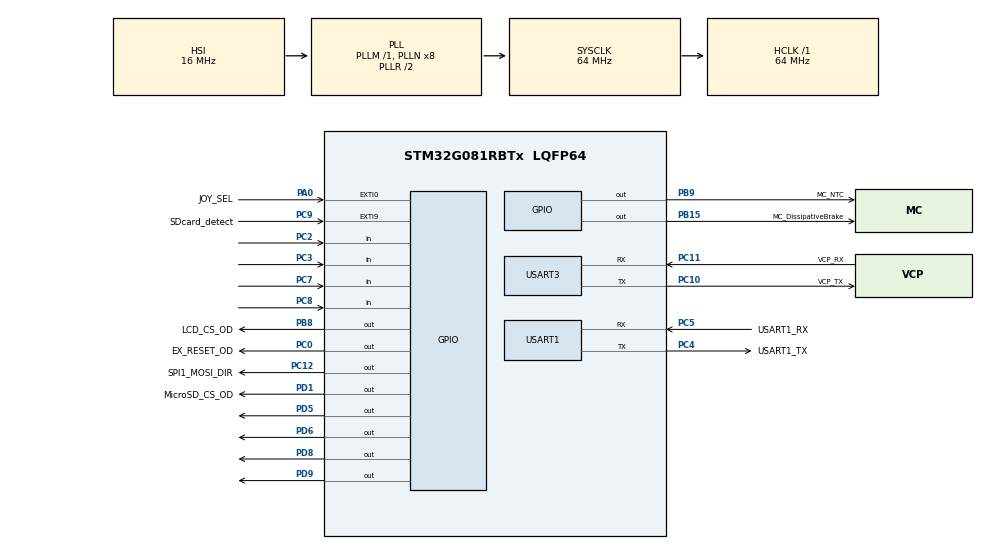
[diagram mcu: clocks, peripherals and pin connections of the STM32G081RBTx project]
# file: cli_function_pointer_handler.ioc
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FREERTOS.Tasks01=CLI,2,128,c_l_i,Default,NULL,Dynamic,NULL,NULL;joy,-1,128,joystick,Default,NULL,Dynamic,NULL,NULL;led,-3,128,leds,Default,NULL,Dynamic,NULL,NULL
Mcu.Family=STM32G0
Mcu.Name=STM32G081RBTx
Mcu.Package=LQFP64
NVIC.TIM6_DAC_LPTIM1_IRQn=true\:3\:0\:false\:false\:true\:false\:false\:true\:true
NVIC.TimeBase=TIM6_DAC_LPTIM1_IRQn
NVIC.TimeBaseIP=TIM6
NVIC.USART3_4_LPUART1_IRQn=true\:3\:0\:false\:false\:true\:true\:true\:true\:true
PA0.GPIO_Label=JOY_SEL
PA0.Signal=GPXTI0
PA1.GPIO_Label=MC_BusVoltage
PA1.Signal=ADC1_IN1
PA10.GPIO_Label=MC_WH
PA10.Signal=S_TIM1_CH3
PA11\ [PA9].GPIO_Label=USART1_CTS
PA11\ [PA9].Signal=USART1_CTS
PA12\ [PA10].GPIO_Label=USART1_RTS
PA12\ [PA10].Signal=USART1_RTS
PA13.GPIO_Label=SWDAT
PA13.Mode=Serial_Wire
PA13.Signal=SYS_SWDIO
PA14-BOOT0.GPIO_Label=SWCLK
PA14-BOOT0.Mode=Serial_Wire
PA14-BOOT0.Signal=SYS_SWCLK
PA2.GPIO_Label=MC_CurrentA
PA2.Signal=ADC1_IN2
PA3.Signal=ADC1_IN3
PA4.GPIO_Label=Audio_OUT_L [TS488IQT_VIN1]
PA4.Signal=COMP_DAC11_group
PA5.GPIO_Label=Audio_OUT_R [TS488IQT_VIN2]
PA5.Signal=COMP_DAC12_group
PA6.GPIO_Label=Audio_IN
PA6.Signal=ADC1_IN6
PA7.GPIO_Label=SPI1_MOSI
PA7.Signal=SPI1_MOSI
PA8.GPIO_Label=MC_UH
PA8.Signal=S_TIM1_CH1
PA9.GPIO_Label=MC_VH
PA9.Signal=S_TIM1_CH2
PB0.GPIO_Label=MC_EnIndex
PB0.Signal=ADC1_IN8
PB1.GPIO_Label=MC_PFCpwm
PB1.Signal=S_TIM3_CH4
PB10.GPIO_Label=MC_CurrentC
PB10.Signal=ADC1_IN11
PB12.GPIO_Label=MC_EmergencySTOP
PB12.Signal=TIM1_BK
PB15.GPIO_Label=MC_DissipativeBrake
PB15.Signal=GPIO_Output
PB2.GPIO_Label=Potentiometer
PB2.Signal=ADC1_IN10
PB3.GPIO_Label=SPI1_SCK
PB3.Signal=SPI1_SCK
PB4.GPIO_Label=SPI1_MISO
PB4.Signal=SPI1_MISO
PB5.GPIO_Label=MC_EnB
PB5.Signal=S_TIM3_CH2
PB6.GPIO_Label=I2C1_SCL
PB6.Signal=I2C1_SCL
PB7.GPIO_Label=I2C1_SDA
PB7.Signal=I2C1_SDA
PB8.GPIO_Label=LCD_CS_OD
PB8.GPIO_ModeDefaultOutputPP=GPIO_MODE_OUTPUT_OD
PB8.Signal=GPIO_Output
PB9.GPIO_Label=MC_NTC
PB9.Signal=GPIO_Output
PC0.GPIO_Label=EX_RESET_OD
PC0.GPIO_ModeDefaultOutputPP=GPIO_MODE_OUTPUT_OD
PC0.Signal=GPIO_Output
PC1.GPIO_Label=MC_PFCsync1
PC1.Signal=LPTIM1_OUT
PC10.GPIO_Label=VCP_TX
PC10.Mode=Asynchronous
PC10.Signal=USART3_TX
PC11.GPIO_Label=VCP_RX
PC11.Mode=Asynchronous
PC11.Signal=USART3_RX
PC12.GPIO_Label=SPI1_MOSI_DIR
PC12.Signal=GPIO_Output
PC13.GPIO_Label=Tamper_key
PC13.Signal=RTC_TAMP_IN1
PC14-OSC32_IN\ (PC14).Mode=LSE-External-Oscillator
PC14-OSC32_IN\ (PC14).Signal=RCC_OSC32_IN
PC15-OSC32_OUT\ (PC15).Mode=LSE-External-Oscillator
PC15-OSC32_OUT\ (PC15).Signal=RCC_OSC32_OUT
PC2.GPIO_PuPd=GPIO_PULLDOWN
PC2.Signal=GPIO_Input
PC3.GPIO_PuPd=GPIO_PULLDOWN
PC3.Signal=GPIO_Input
PC4.GPIO_Label=USART1_TX
PC4.Mode=Asynchronous
PC4.Signal=USART1_TX
PC5.GPIO_Label=USART1_RX
PC5.Mode=Asynchronous
PC5.Signal=USART1_RX
PC6.GPIO_Label=MC_EnA
PC6.Signal=S_TIM3_CH1
PC7.GPIO_PuPd=GPIO_PULLDOWN
PC7.Signal=GPIO_Input
PC8.GPIO_PuPd=GPIO_PULLDOWN
PC8.Signal=GPIO_Input
PC9.GPIO_Label=SDcard_detect
PC9.Signal=GPXTI9
PD0.GPIO_Label=MC_PFCsync2
PD0.Signal=S_TIM16_CH1
PD1.GPIO_Label=MicroSD_CS_OD
PD1.GPIO_ModeDefaultOutputPP=GPIO_MODE_OUTPUT_OD
PD1.Signal=GPIO_Output
PD2.GPIO_Label=MC_UL
PD2.Signal=TIM1_CH1N
PD3.GPIO_Label=MC_VL
PD3.Signal=TIM1_CH2N
PD4.GPIO_Label=MC_WL
PD4.Signal=TIM1_CH3N
PD5.PinState=GPIO_PIN_SET
PD5.Signal=GPIO_Output
PD6.PinState=GPIO_PIN_SET
PD6.Signal=GPIO_Output
PD8.PinState=GPIO_PIN_SET
PD8.Signal=GPIO_Output
PD9.PinState=GPIO_PIN_SET
PD9.Signal=GPIO_Output
PF0-OSC_IN\ (PF0).Mode=HSE-External-Oscillator
PF0-OSC_IN\ (PF0).Signal=RCC_OSC_IN
PF1-OSC_OUT\ (PF1).Mode=HSE-External-Oscillator
PF1-OSC_OUT\ (PF1).Signal=RCC_OSC_OUT
ProjectManager.HeapSize=0x200
ProjectManager.StackSize=0x400
ProjectManager.TargetToolchain=STM32CubeIDE
RCC.ADCFreq_Value=64000000
RCC.AHBFreq_Value=64000000
RCC.CortexFreq_Value=64000000
RCC.EXTERNAL_CLOCK_VALUE=12288000
RCC.HCLKFreq_Value=64000000
RCC.HSE_VALUE=8000000
RCC.HSI_VALUE=16000000
RCC.SYSCLKFreq_VALUE=64000000
RCC.SYSCLKSource=RCC_SYSCLKSOURCE_PLLCLK
RCC.VCOOutputFreq_Value=128000000
SH.COMP_DAC11_group.0=DAC1_OUT1
SH.COMP_DAC12_group.0=DAC1_OUT2
SH.S_TIM16_CH1.0=TIM16_CH1
SH.S_TIM1_CH1.0=TIM1_CH1
SH.S_TIM1_CH2.0=TIM1_CH2
SH.S_TIM1_CH3.0=TIM1_CH3
SH.S_TIM3_CH1.0=TIM3_CH1
SH.S_TIM3_CH2.0=TIM3_CH2
SH.S_TIM3_CH4.0=TIM3_CH4
USART1.VirtualMode-Asynchronous=VM_ASYNC
USART3.VirtualMode-Asynchronous=VM_ASYNC
VP_FREERTOS_VS_CMSIS_V1.Mode=CMSIS_V1
VP_SYS_VS_DBSignals.Mode=DisableDeadBatterySignals
VP_SYS_VS_tim6.Mode=TIM6
board=STM32G081B-EVAL

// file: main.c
/* USER CODE BEGIN Header */
/**
  ******************************************************************************
  * @file           : main.c
  * @brief          : Main program body
  ******************************************************************************
  * @attention
  *
  * Copyright (c) 2022 STMicroelectronics.
  * All rights reserved.
  *
  * This software is licensed under terms that can be found in the LICENSE file
  * in the root directory of this software component.
  * If no LICENSE file comes with this software, it is provided AS-IS.
  *
  ******************************************************************************
  */
/* USER CODE END Header */
#include "main.h"
#include "cmsis_os.h"

/* USER CODE BEGIN Includes */
#include <stdbool.h>
#include <string.h>
#include <stdio.h>
#include <stdlib.h>
#define LED1 1
#define LED2 2
#define LED3 3
#define LED4 4
#define queue_length 3
/* USER CODE END Includes */

UART_HandleTypeDef huart1;
UART_HandleTypeDef huart3;

osThreadId CLIHandle;
osThreadId joyHandle;
osThreadId ledHandle;
/* USER CODE BEGIN PV */
#define RX_BUFF_SIZE	20
/* USER CODE END PV */

void SystemClock_Config(void);
static void MX_GPIO_Init(void);
static void MX_USART1_UART_Init(void);
static void MX_USART3_UART_Init(void);
void c_l_i(void const * argument);
void joystick(void const * argument);
void leds(void const * argument);
xQueueHandle simplequeue;
xQueueHandle cli_queue;
/* USER CODE BEGIN PFP */
struct UART3_Rx
{
	bool fullFlag;
	bool cmdReady;
	uint8_t count;
	uint8_t buff[RX_BUFF_SIZE];
};
struct jtos
{
	uint8_t value;
    uint32_t delay;
};
struct jtos jtosBuff;
HAL_StatusTypeDef status = HAL_OK;
struct UART3_Rx tempBuff;
uint8_t* ptrTempBuff = &tempBuff.buff[0];
char *ptr;

char strBuff[128];
uint8_t rx_buff[RX_BUFF_SIZE];
uint8_t temp[RX_BUFF_SIZE];
uint16_t temp1;
uint8_t temp5;
bool softReset = false;
bool pinReset = false;

uint8_t goCmd[] = "d";
uint8_t rstCmd[] = "reset";
uint8_t reply[] = "\r\nTemp value passed to joystick...Now press any Joy button\r\n>";
uint8_t prompt[] = "\r\n>";
uint8_t cmdFail[] = "\r\nCommand not recognised...\r\n>";

/* USER CODE END PFP */

/* USER CODE BEGIN 0 */
void printInfo()
{
  uint16_t flashSize = READ_REG(*((uint16_t *)FLASHSIZE_BASE));
  int HalVersion = HAL_GetHalVersion();
  int RevID = HAL_GetREVID();
  int DevID = HAL_GetDEVID();
  int UIDw0 = HAL_GetUIDw0();
  int UIDw1 = HAL_GetUIDw1();
  int UIDw2 = HAL_GetUIDw2();
  int HCLKF = HAL_RCC_GetHCLKFreq();

  // Wait for connection to Tera Term (or whatever) before printing
  HAL_Delay(500);

  if(pinReset)
  {
	 sprintf(&strBuff[0], "\r\nPin triggered reset occurred...");
	 status = HAL_UART_Transmit(&huart3, (uint8_t*)&strBuff[0], strlen(strBuff),100);
	 assert_param(status == HAL_OK);
  }

  if(softReset)
  {
	 sprintf(&strBuff[0], "\r\nSoftware triggered reset occurred...");
	 status = HAL_UART_Transmit(&huart3, (uint8_t*)&strBuff[0], strlen(strBuff),100);
	 assert_param(status == HAL_OK);
  }
  sprintf(&strBuff[0], "\r\n\r\nSTM32 HAL : L0_V%d.%d.%d (RC-%d)\r\n",
		   (HalVersion >> 24),
		   (HalVersion >> 16) & 0xFF,
		   (HalVersion >> 8) & 0xFF,
		    HalVersion & 0xFF);

	// Blocking calls used deliberately
  status = HAL_UART_Transmit(&huart3, (uint8_t*)&strBuff[0], strlen(strBuff),100);           //prints the STM32 HAL : L0_V1.4.4 (RC-0)
  assert_param(status == HAL_OK);
  sprintf(&strBuff[0], "Flash     : %d Kbytes\r\n", flashSize);
  status = HAL_UART_Transmit(&huart3, (uint8_t*)&strBuff[0], strlen(strBuff),100);           //prints the size of Flash : 128 Kbytes
  assert_param(status == HAL_OK);
  sprintf(&strBuff[0], "UID       : %d%d%d\r\n", UIDw2, UIDw1, UIDw0);
  status = HAL_UART_Transmit(&huart3, (uint8_t*)&strBuff[0], strlen(strBuff),100);           //prints the UID   : 5405532888256430194194424
  assert_param(status == HAL_OK);
  sprintf(&strBuff[0], "Dev ID    : 0x%03x\r\n", DevID);
  status = HAL_UART_Transmit(&huart3, (uint8_t*)&strBuff[0], strlen(strBuff),100);           //prints the Dev ID  : 0x460
  assert_param(status == HAL_OK);
  sprintf(&strBuff[0], "Rev ID    : 0x%04x\r\n", RevID);
  status = HAL_UART_Transmit(&huart3, (uint8_t*)&strBuff[0], strlen(strBuff),100);           //prints the Rev ID   : 0x2000
  assert_param(status == HAL_OK);
  sprintf(&strBuff[0], "HCLK      : %d Hz\r\n\n>", HCLKF);
  status = HAL_UART_Transmit(&huart3, (uint8_t*)&strBuff[0], strlen(strBuff),100);           //prints the clock HCLK  : 64000000 Hz
  assert_param(status == HAL_OK);
}
    //When data reception is finished, it will be called by interrupt handle function
void HAL_UART_RxCpltCallback(UART_HandleTypeDef *huart)
{
  if(huart->Instance == USART3) {
    // We can accept the character
	if((tempBuff.count < RX_BUFF_SIZE) && (tempBuff.fullFlag == false)) {
	  // It's the end of a command
	  if(tempBuff.buff[tempBuff.count] == '\r') {
	    // Disable interrupts until we have processed the command
		status = HAL_UART_Abort(huart);
		assert_param(status == HAL_OK);

			    // Signal we have a command and reset pointer
		tempBuff.cmdReady = true;
		ptrTempBuff = &tempBuff.buff[0];
	  }
	  else // Assume character is good
	  {
		tempBuff.count += 1;
		ptrTempBuff++;
		// Enable reception again
		status = HAL_UART_Receive_IT(huart, ptrTempBuff, sizeof(uint8_t));
		assert_param(status == HAL_OK);
	  }
	}
	else // We can't accept it so start again
	{
	  // We ran out of buffer before getting a command!
	  status = HAL_UART_Abort(huart);
	  assert_param(status == HAL_OK);

	  // Signal an error condition, reset pointer
	  tempBuff.fullFlag = true;
	  ptrTempBuff = &tempBuff.buff[0];
	}
  }
}
/* USER CODE END 0 */

int main(void)
{
  /* USER CODE BEGIN 1 */
  tempBuff.fullFlag = false;                                         // we assign the fullflag=false,cmdready=false and count=0;
  tempBuff.cmdReady = false;
  tempBuff.count = 0;
  memset(&tempBuff.buff, 0x00, sizeof(tempBuff.buff));               //clear the buffer data otherwise garbage is there.

  /* USER CODE END 1 */

  /* MCU Configuration--------------------------------------------------------*/

  /* Reset of all peripherals, Initializes the Flash interface and the Systick. */
  HAL_Init();

  /* Configure the system clock */
  SystemClock_Config();

  /* USER CODE BEGIN SysInit */
  if __HAL_RCC_GET_FLAG(RCC_FLAG_SFTRST)
  {
    softReset = true;
  }
  if __HAL_RCC_GET_FLAG(RCC_FLAG_PINRST)
  {
    pinReset = true;
  }
  /* USER CODE END SysInit */

  /* Initialize all configured peripherals */
  MX_GPIO_Init();
  MX_USART1_UART_Init();
  MX_USART3_UART_Init();
  /* USER CODE BEGIN 2 */
  HAL_UART_Transmit(&huart3,(uint8_t*)"Welcome to Joystick to Led\r\n",27,HAL_MAX_DELAY);
  memset(&tempBuff.buff, 0x00, sizeof(tempBuff.buff));
  HAL_Delay(200);
  simplequeue=xQueueCreate(queue_length,sizeof(int));                                                //create the message queue for transfer the information joystick to led.
  cli_queue=xQueueCreate(queue_length,sizeof(tempBuff));                                              //create the message queue for transfer the information command line interface to joystick.
  /*if(simplequeue==0)
  {
	char *str="unable to create queue\n";
	HAL_UART_Transmit(&huart3,(uint8_t*)str,strlen(str),HAL_MAX_DELAY);
  }
  else
  {
	char *str1="create queue\n";
	HAL_UART_Transmit(&huart3,(uint8_t*)str1,strlen(str1),HAL_MAX_DELAY);
  }*/

  status = HAL_UART_Receive_IT(&huart3, &tempBuff.buff[0], sizeof(uint8_t));
  assert_param(status == HAL_OK);

  // printInfo();

  /* USER CODE END 2 */

  /* Create the thread(s) */
  /* definition and creation of CLI */
  osThreadDef(CLI, c_l_i, osPriorityHigh, 0, 128);
  CLIHandle = osThreadCreate(osThread(CLI), NULL);

  /* definition and creation of joy */
  osThreadDef(joy, joystick, osPriorityAboveNormal, 0, 128);
  joyHandle = osThreadCreate(osThread(joy), NULL);

  /* definition and creation of led */
  osThreadDef(led, leds, osPriorityNormal, 0, 128);
  ledHandle = osThreadCreate(osThread(led), NULL);

  /* Start scheduler */
  osKernelStart();                                                                   //start the thread scheduler

  /* We should never get here as control is now taken by the scheduler */
  /* Infinite loop */
  /* USER CODE BEGIN WHILE */
  while (1)
  {
	 // HAL_Delay(5);
    /* USER CODE END WHILE */
  }
}

void SystemClock_Config(void)
{
  RCC_OscInitTypeDef RCC_OscInitStruct = {0};
  RCC_ClkInitTypeDef RCC_ClkInitStruct = {0};

  /** Configure the main internal regulator output voltage
  */
  HAL_PWREx_ControlVoltageScaling(PWR_REGULATOR_VOLTAGE_SCALE1);

  /** Initializes the RCC Oscillators according to the specified parameters
  * in the RCC_OscInitTypeDef structure.
  */
  RCC_OscInitStruct.OscillatorType = RCC_OSCILLATORTYPE_HSI;
  RCC_OscInitStruct.HSIState = RCC_HSI_ON;
  RCC_OscInitStruct.HSIDiv = RCC_HSI_DIV1;
  RCC_OscInitStruct.HSICalibrationValue = RCC_HSICALIBRATION_DEFAULT;
  RCC_OscInitStruct.PLL.PLLState = RCC_PLL_ON;
  RCC_OscInitStruct.PLL.PLLSource = RCC_PLLSOURCE_HSI;
  RCC_OscInitStruct.PLL.PLLM = RCC_PLLM_DIV1;
  RCC_OscInitStruct.PLL.PLLN = 8;
  RCC_OscInitStruct.PLL.PLLP = RCC_PLLP_DIV2;
  RCC_OscInitStruct.PLL.PLLQ = RCC_PLLQ_DIV2;
  RCC_OscInitStruct.PLL.PLLR = RCC_PLLR_DIV2;
  if (HAL_RCC_OscConfig(&RCC_OscInitStruct) != HAL_OK)
  {
    Error_Handler();
  }

  /** Initializes the CPU, AHB and APB buses clocks
  */
  RCC_ClkInitStruct.ClockType = RCC_CLOCKTYPE_HCLK|RCC_CLOCKTYPE_SYSCLK
                              |RCC_CLOCKTYPE_PCLK1;
  RCC_ClkInitStruct.SYSCLKSource = RCC_SYSCLKSOURCE_PLLCLK;
  RCC_ClkInitStruct.AHBCLKDivider = RCC_SYSCLK_DIV1;
  RCC_ClkInitStruct.APB1CLKDivider = RCC_HCLK_DIV1;

  if (HAL_RCC_ClockConfig(&RCC_ClkInitStruct, FLASH_LATENCY_2) != HAL_OK)
  {
    Error_Handler();
  }
}

static void MX_USART1_UART_Init(void)
{

  huart1.Instance = USART1;
  huart1.Init.BaudRate = 115200;
  huart1.Init.WordLength = UART_WORDLENGTH_8B;
  huart1.Init.StopBits = UART_STOPBITS_1;
  huart1.Init.Parity = UART_PARITY_NONE;
  huart1.Init.Mode = UART_MODE_TX_RX;
  huart1.Init.HwFlowCtl = UART_HWCONTROL_NONE;
  huart1.Init.OverSampling = UART_OVERSAMPLING_16;
  huart1.Init.OneBitSampling = UART_ONE_BIT_SAMPLE_DISABLE;
  huart1.Init.ClockPrescaler = UART_PRESCALER_DIV1;
  huart1.AdvancedInit.AdvFeatureInit = UART_ADVFEATURE_NO_INIT;
  if (HAL_UART_Init(&huart1) != HAL_OK)
  {
    Error_Handler();
  }
  if (HAL_UARTEx_SetTxFifoThreshold(&huart1, UART_TXFIFO_THRESHOLD_1_8) != HAL_OK)
  {
    Error_Handler();
  }
  if (HAL_UARTEx_SetRxFifoThreshold(&huart1, UART_RXFIFO_THRESHOLD_1_8) != HAL_OK)
  {
    Error_Handler();
  }
  if (HAL_UARTEx_DisableFifoMode(&huart1) != HAL_OK)
  {
    Error_Handler();
  }

}

static void MX_USART3_UART_Init(void)
{

  huart3.Instance = USART3;
  huart3.Init.BaudRate = 115200;
  huart3.Init.WordLength = UART_WORDLENGTH_8B;
  huart3.Init.StopBits = UART_STOPBITS_1;
  huart3.Init.Parity = UART_PARITY_NONE;
  huart3.Init.Mode = UART_MODE_TX_RX;
  huart3.Init.HwFlowCtl = UART_HWCONTROL_NONE;
  huart3.Init.OverSampling = UART_OVERSAMPLING_16;
  huart3.Init.OneBitSampling = UART_ONE_BIT_SAMPLE_DISABLE;
  huart3.Init.ClockPrescaler = UART_PRESCALER_DIV1;
  huart3.AdvancedInit.AdvFeatureInit = UART_ADVFEATURE_NO_INIT;
  if (HAL_UART_Init(&huart3) != HAL_OK)
  {
    Error_Handler();
  }

}

static void MX_GPIO_Init(void)
{
  GPIO_InitTypeDef GPIO_InitStruct = {0};

  /* GPIO Ports Clock Enable */
  __HAL_RCC_GPIOC_CLK_ENABLE();
  __HAL_RCC_GPIOF_CLK_ENABLE();
  __HAL_RCC_GPIOA_CLK_ENABLE();
  __HAL_RCC_GPIOB_CLK_ENABLE();
  __HAL_RCC_GPIOD_CLK_ENABLE();

  /*Configure GPIO pin Output Level */
  HAL_GPIO_WritePin(GPIOC, SPI1_MOSI_DIR_Pin|EX_RESET_OD_Pin, GPIO_PIN_RESET);

  /*Configure GPIO pin Output Level */
  HAL_GPIO_WritePin(GPIOB, MC_DissipativeBrake_Pin|LCD_CS_OD_Pin|MC_NTC_Pin, GPIO_PIN_RESET);

  /*Configure GPIO pin Output Level */
  HAL_GPIO_WritePin(GPIOD, GPIO_PIN_8|GPIO_PIN_9|GPIO_PIN_5|GPIO_PIN_6, GPIO_PIN_RESET);

  /*Configure GPIO pin Output Level */
  HAL_GPIO_WritePin(MicroSD_CS_OD_GPIO_Port, MicroSD_CS_OD_Pin, GPIO_PIN_RESET);

  /*Configure GPIO pin : SPI1_MOSI_DIR_Pin */
  GPIO_InitStruct.Pin = SPI1_MOSI_DIR_Pin;
  GPIO_InitStruct.Mode = GPIO_MODE_OUTPUT_PP;
  GPIO_InitStruct.Pull = GPIO_NOPULL;
  GPIO_InitStruct.Speed = GPIO_SPEED_FREQ_LOW;
  HAL_GPIO_Init(SPI1_MOSI_DIR_GPIO_Port, &GPIO_InitStruct);

  /*Configure GPIO pin : EX_RESET_OD_Pin */
  GPIO_InitStruct.Pin = EX_RESET_OD_Pin;
  GPIO_InitStruct.Mode = GPIO_MODE_OUTPUT_OD;
  GPIO_InitStruct.Pull = GPIO_NOPULL;
  GPIO_InitStruct.Speed = GPIO_SPEED_FREQ_LOW;
  HAL_GPIO_Init(EX_RESET_OD_GPIO_Port, &GPIO_InitStruct);

  /*Configure GPIO pin : MC_PFCsync1_Pin */
  GPIO_InitStruct.Pin = MC_PFCsync1_Pin;
  GPIO_InitStruct.Mode = GPIO_MODE_AF_PP;
  GPIO_InitStruct.Pull = GPIO_NOPULL;
  GPIO_InitStruct.Speed = GPIO_SPEED_FREQ_LOW;
  GPIO_InitStruct.Alternate = GPIO_AF0_LPTIM1;
  HAL_GPIO_Init(MC_PFCsync1_GPIO_Port, &GPIO_InitStruct);

  /*Configure GPIO pins : PC2 PC3 PC7 PC8 */
  GPIO_InitStruct.Pin = GPIO_PIN_2|GPIO_PIN_3|GPIO_PIN_7|GPIO_PIN_8;
  GPIO_InitStruct.Mode = GPIO_MODE_INPUT;
  GPIO_InitStruct.Pull = GPIO_PULLDOWN;
  HAL_GPIO_Init(GPIOC, &GPIO_InitStruct);

  /*Configure GPIO pin : JOY_SEL_Pin */
  GPIO_InitStruct.Pin = JOY_SEL_Pin;
  GPIO_InitStruct.Mode = GPIO_MODE_IT_RISING;
  GPIO_InitStruct.Pull = GPIO_NOPULL;
  HAL_GPIO_Init(JOY_SEL_GPIO_Port, &GPIO_InitStruct);

  /*Configure GPIO pins : MC_BusVoltage_Pin MC_CurrentA_Pin PA3 Audio_OUT_L_Pin
                           Audio_OUT_R_Pin Audio_IN_Pin */
  GPIO_InitStruct.Pin = MC_BusVoltage_Pin|MC_CurrentA_Pin|GPIO_PIN_3|Audio_OUT_L_Pin
                          |Audio_OUT_R_Pin|Audio_IN_Pin;
  GPIO_InitStruct.Mode = GPIO_MODE_ANALOG;
  GPIO_InitStruct.Pull = GPIO_NOPULL;
  HAL_GPIO_Init(GPIOA, &GPIO_InitStruct);

  /*Configure GPIO pin : SPI1_MOSI_Pin */
  GPIO_InitStruct.Pin = SPI1_MOSI_Pin;
  GPIO_InitStruct.Mode = GPIO_MODE_AF_PP;
  GPIO_InitStruct.Pull = GPIO_NOPULL;
  GPIO_InitStruct.Speed = GPIO_SPEED_FREQ_LOW;
  GPIO_InitStruct.Alternate = GPIO_AF0_SPI1;
  HAL_GPIO_Init(SPI1_MOSI_GPIO_Port, &GPIO_InitStruct);

  /*Configure GPIO pins : MC_EnIndex_Pin Potentiometer_Pin MC_CurrentC_Pin */
  GPIO_InitStruct.Pin = MC_EnIndex_Pin|Potentiometer_Pin|MC_CurrentC_Pin;
  GPIO_InitStruct.Mode = GPIO_MODE_ANALOG;
  GPIO_InitStruct.Pull = GPIO_NOPULL;
  HAL_GPIO_Init(GPIOB, &GPIO_InitStruct);

  /*Configure GPIO pins : MC_PFCpwm_Pin MC_EnB_Pin */
  GPIO_InitStruct.Pin = MC_PFCpwm_Pin|MC_EnB_Pin;
  GPIO_InitStruct.Mode = GPIO_MODE_AF_PP;
  GPIO_InitStruct.Pull = GPIO_NOPULL;
  GPIO_InitStruct.Speed = GPIO_SPEED_FREQ_LOW;
  GPIO_InitStruct.Alternate = GPIO_AF1_TIM3;
  HAL_GPIO_Init(GPIOB, &GPIO_InitStruct);

  /*Configure GPIO pin : MC_EmergencySTOP_Pin */
  GPIO_InitStruct.Pin = MC_EmergencySTOP_Pin;
  GPIO_InitStruct.Mode = GPIO_MODE_AF_OD;
  GPIO_InitStruct.Pull = GPIO_PULLUP;
  GPIO_InitStruct.Speed = GPIO_SPEED_FREQ_LOW;
  GPIO_InitStruct.Alternate = GPIO_AF2_TIM1;
  HAL_GPIO_Init(MC_EmergencySTOP_GPIO_Port, &GPIO_InitStruct);

  /*Configure GPIO pins : MC_DissipativeBrake_Pin MC_NTC_Pin */
  GPIO_InitStruct.Pin = MC_DissipativeBrake_Pin|MC_NTC_Pin;
  GPIO_InitStruct.Mode = GPIO_MODE_OUTPUT_PP;
  GPIO_InitStruct.Pull = GPIO_NOPULL;
  GPIO_InitStruct.Speed = GPIO_SPEED_FREQ_LOW;
  HAL_GPIO_Init(GPIOB, &GPIO_InitStruct);

  /*Configure GPIO pins : MC_UH_Pin MC_VH_Pin MC_WH_Pin */
  GPIO_InitStruct.Pin = MC_UH_Pin|MC_VH_Pin|MC_WH_Pin;
  GPIO_InitStruct.Mode = GPIO_MODE_AF_PP;
  GPIO_InitStruct.Pull = GPIO_NOPULL;
  GPIO_InitStruct.Speed = GPIO_SPEED_FREQ_LOW;
  GPIO_InitStruct.Alternate = GPIO_AF2_TIM1;
  HAL_GPIO_Init(GPIOA, &GPIO_InitStruct);

  /*Configure GPIO pin : MC_EnA_Pin */
  GPIO_InitStruct.Pin = MC_EnA_Pin;
  GPIO_InitStruct.Mode = GPIO_MODE_AF_PP;
  GPIO_InitStruct.Pull = GPIO_NOPULL;
  GPIO_InitStruct.Speed = GPIO_SPEED_FREQ_LOW;
  GPIO_InitStruct.Alternate = GPIO_AF1_TIM3;
  HAL_GPIO_Init(MC_EnA_GPIO_Port, &GPIO_InitStruct);

  /*Configure GPIO pins : PD8 PD9 PD5 PD6 */
  GPIO_InitStruct.Pin = GPIO_PIN_8|GPIO_PIN_9|GPIO_PIN_5|GPIO_PIN_6;
  GPIO_InitStruct.Mode = GPIO_MODE_OUTPUT_PP;
  GPIO_InitStruct.Pull = GPIO_NOPULL;
  GPIO_InitStruct.Speed = GPIO_SPEED_FREQ_LOW;
  HAL_GPIO_Init(GPIOD, &GPIO_InitStruct);

  /*Configure GPIO pin : SDcard_detect_Pin */
  GPIO_InitStruct.Pin = SDcard_detect_Pin;
  GPIO_InitStruct.Mode = GPIO_MODE_IT_RISING;
  GPIO_InitStruct.Pull = GPIO_NOPULL;
  HAL_GPIO_Init(SDcard_detect_GPIO_Port, &GPIO_InitStruct);

  /*Configure GPIO pin : MC_PFCsync2_Pin */
  GPIO_InitStruct.Pin = MC_PFCsync2_Pin;
  GPIO_InitStruct.Mode = GPIO_MODE_AF_PP;
  GPIO_InitStruct.Pull = GPIO_NOPULL;
  GPIO_InitStruct.Speed = GPIO_SPEED_FREQ_LOW;
  GPIO_InitStruct.Alternate = GPIO_AF2_TIM16;
  HAL_GPIO_Init(MC_PFCsync2_GPIO_Port, &GPIO_InitStruct);

  /*Configure GPIO pin : MicroSD_CS_OD_Pin */
  GPIO_InitStruct.Pin = MicroSD_CS_OD_Pin;
  GPIO_InitStruct.Mode = GPIO_MODE_OUTPUT_OD;
  GPIO_InitStruct.Pull = GPIO_NOPULL;
  GPIO_InitStruct.Speed = GPIO_SPEED_FREQ_LOW;
  HAL_GPIO_Init(MicroSD_CS_OD_GPIO_Port, &GPIO_InitStruct);

  /*Configure GPIO pins : MC_UL_Pin MC_VL_Pin MC_WL_Pin */
  GPIO_InitStruct.Pin = MC_UL_Pin|MC_VL_Pin|MC_WL_Pin;
  GPIO_InitStruct.Mode = GPIO_MODE_AF_PP;
  GPIO_InitStruct.Pull = GPIO_NOPULL;
  GPIO_InitStruct.Speed = GPIO_SPEED_FREQ_LOW;
  GPIO_InitStruct.Alternate = GPIO_AF2_TIM1;
  HAL_GPIO_Init(GPIOD, &GPIO_InitStruct);

  /*Configure GPIO pins : SPI1_SCK_Pin SPI1_MISO_Pin */
  GPIO_InitStruct.Pin = SPI1_SCK_Pin|SPI1_MISO_Pin;
  GPIO_InitStruct.Mode = GPIO_MODE_AF_PP;
  GPIO_InitStruct.Pull = GPIO_NOPULL;
  GPIO_InitStruct.Speed = GPIO_SPEED_FREQ_LOW;
  GPIO_InitStruct.Alternate = GPIO_AF0_SPI1;
  HAL_GPIO_Init(GPIOB, &GPIO_InitStruct);

  /*Configure GPIO pins : I2C1_SCL_Pin I2C1_SDA_Pin */
  GPIO_InitStruct.Pin = I2C1_SCL_Pin|I2C1_SDA_Pin;
  GPIO_InitStruct.Mode = GPIO_MODE_AF_OD;
  GPIO_InitStruct.Pull = GPIO_NOPULL;
  GPIO_InitStruct.Speed = GPIO_SPEED_FREQ_LOW;
  GPIO_InitStruct.Alternate = GPIO_AF6_I2C1;
  HAL_GPIO_Init(GPIOB, &GPIO_InitStruct);

  /*Configure GPIO pin : LCD_CS_OD_Pin */
  GPIO_InitStruct.Pin = LCD_CS_OD_Pin;
  GPIO_InitStruct.Mode = GPIO_MODE_OUTPUT_OD;
  GPIO_InitStruct.Pull = GPIO_NOPULL;
  GPIO_InitStruct.Speed = GPIO_SPEED_FREQ_LOW;
  HAL_GPIO_Init(LCD_CS_OD_GPIO_Port, &GPIO_InitStruct);

}

void c_l_i(void const * argument)
{
  /* USER CODE BEGIN 5 */
  uint8_t response[] = "\r\nbuffer overflow\r\n>";
  printInfo();
  char *str="Give the delay like this  d-XXXX\r\n>";
  HAL_UART_Transmit(&huart3,(uint8_t*)str,strlen(str),HAL_MAX_DELAY);
  uint32_t TickDelay=pdMS_TO_TICKS(1000);

  /* Infinite loop */
  for(;;)
  {
	if(tempBuff.fullFlag == true) {
	// By this point the UART interrupts have been disabled
	// Send error message
	status = HAL_UART_Transmit_IT(&huart3, &response[0], sizeof(response));
	assert_param(status == HAL_OK);

	// Clear full flag, count, and buffer
	tempBuff.count = 0;
	tempBuff.fullFlag = false;
	memset(&tempBuff.buff, 0x00, sizeof(tempBuff.buff));

	// Enable reception again
	status = HAL_UART_Receive_IT(&huart3, &tempBuff.buff[0],
	sizeof(uint8_t));
	assert_param(status == HAL_OK);
    }
    if(tempBuff.cmdReady == true) {
	  // By this point the UART interrupts have been disabled
	  // We know the count so turn the end to a null terminator
	  tempBuff.buff[tempBuff.count] = '\0';
	  if(tempBuff.count > 0) {
	  // We have at least one character plus CR, so process

      if(tempBuff.buff[0]=='d') {                                                           //if you give d-xxxx command like this to tempBuff.buff, check first character
		  int i = 0, j = 0;
		  int n = sizeof(tempBuff.buff);                                                    //if it is true goes the inside loop, and perform operation

		  while (i < n && tempBuff.buff[i] != '-') {                                        //we want only this xxxx , thats why we are using this code.
			++i;
		  }
		  ++i;
		  while (i < n && tempBuff.buff[i] != ' ') {
			temp[j] = tempBuff.buff[i];
			++i, ++j;
		  }
			temp[j] = '\0';
	      //HAL_UART_Transmit(&huart3,temp,sizeof(temp),HAL_MAX_DELAY);
	      xQueueSend(cli_queue,&temp,portMAX_DELAY);                                        //Pass the temp value to Joystick using message queue IPC
          status = HAL_UART_Transmit_IT(&huart3, &reply[0], sizeof(reply));
          assert_param(status == HAL_OK);
	  }
	  else if(strcmp((const char*)rstCmd, (const char*)tempBuff.buff) == 0)
	  {
	  	sprintf(&strBuff[0], "\r\nResetting MCU...\r\n");
	  	// Deliberately blocking so we don't reset half way through the message
	  	status = HAL_UART_Transmit(&huart3, (uint8_t*)&strBuff[0], strlen(strBuff),100);   //Resetting MCU
	  	assert_param(status == HAL_OK);
	  	NVIC_SystemReset();
	  }
	  else
	  {
	  	 // Inform that the command is not recognised
	  	 status = HAL_UART_Transmit_IT(&huart3, &cmdFail[0], sizeof(cmdFail));    //prints the Command not recognised
	  	 assert_param(status == HAL_OK);
	  }
	}
	else
	{
	  // Nothing to process, so just give a prompt
	  status = HAL_UART_Transmit_IT(&huart3, &prompt[0], sizeof(prompt));         // Just give a prompt
	  assert_param(status == HAL_OK);
	}

	  // Clear ready flag, count, and buffer
	  tempBuff.count = 0;
	  tempBuff.cmdReady = false;
	  memset(&tempBuff.buff, 0x00, sizeof(tempBuff.buff));

	  // Enable reception again
	  status = HAL_UART_Receive_IT(&huart3, &tempBuff.buff[0], sizeof(uint8_t));
	  assert_param(status == HAL_OK);
    }
	  vTaskDelay(TickDelay);
  }
  /* USER CODE END 5 */
}

void joystick(void const * argument)
{
  /* USER CODE BEGIN joystick */

  xQueueReceive(cli_queue,&temp,portMAX_DELAY);      //Receive the data from CLI through message queue
  jtosBuff.delay=atoi((const char *)temp);                         //It is for converting ASCII to integer and assigns to jtosBuff.delay.
  uint32_t TickDelay=pdMS_TO_TICKS(500);
  /* Infinite loop */
  for(;;)
  {
	if (HAL_GPIO_ReadPin(GPIOC, GPIO_PIN_2)) {        //Read the status from Joy_up, if true goes to the inside loop,else goes to next condition
		jtosBuff.value = LED1;                        //if you press joy_up assign value to jtosBuff.value
	}
	else if (HAL_GPIO_ReadPin(GPIOC, GPIO_PIN_3)) {   //Read the status from Joy_down, if true goes to the inside loop,else goes to next condition
		jtosBuff.value = LED2;                        //if you press joy_down assign value to jtosBuff.value
	}
	else if (HAL_GPIO_ReadPin(GPIOC, GPIO_PIN_7)) {   //Read the status from Joy_left, if true goes to the inside loop,else goes to next condition
		jtosBuff.value = LED3;                        //if you press joy_left assign value to jtosBuff.value
	}
	else if (HAL_GPIO_ReadPin(GPIOC, GPIO_PIN_8)) {   //Read the status from Joy_right, if true goes to the inside loop,else goes to next condition
		jtosBuff.value = LED4;                        //if you press joy_right assign value to jtosBuff.value
	}
	else {
		jtosBuff.value = 0;                           //if you not press anything, simply assign 0
	}
	xQueueSend(simplequeue,&jtosBuff,portMAX_DELAY);
    vTaskDelay(TickDelay);
	  //osDelay(1);
   }
  /* USER CODE END joystick */
}

void leds(void const * argument)
{
  /* USER CODE BEGIN leds */
  /* Infinite loop */
  for(;;)
  {
    if (xQueueReceive(simplequeue, &jtosBuff, portMAX_DELAY) == pdPASS) {
		if (jtosBuff.value == LED1) {                     //If you receive Joy_up , led1 is toggle
			HAL_GPIO_TogglePin(GPIOD, GPIO_PIN_5);
			HAL_Delay(jtosBuff.delay);                    //Based on received Delay,HAL_Delay works
		}
        else if (jtosBuff.value == LED2) {                //If you receive Joy_down , led2 is toggle
			HAL_GPIO_TogglePin(GPIOD, GPIO_PIN_6);
			HAL_Delay(jtosBuff.delay);                    //Based on received Delay,HAL_Delay works
        }
		else if (jtosBuff.value == LED3) {                //If you receive Joy_left , led3 is toggle
			HAL_GPIO_TogglePin(GPIOD, GPIO_PIN_8);
			HAL_Delay(jtosBuff.delay);                    //Based on received Delay,HAL_Delay works
		}
		else if (jtosBuff.value == LED4) {                //If you receive Joy_right , led4 is toggle
			HAL_GPIO_TogglePin(GPIOD, GPIO_PIN_9);
			HAL_Delay(jtosBuff.delay);                    //Based on received Delay,HAL_Delay works
		}
		else {
		    HAL_GPIO_WritePin(GPIOD, GPIO_PIN_5, GPIO_PIN_RESET);   //If you not receive anything, Led1 is reset i.e Turn ON led1
			HAL_GPIO_WritePin(GPIOD, GPIO_PIN_6, GPIO_PIN_RESET);   //If you not receive anything, Led2 is reset i.e Turn ON led2
		    HAL_GPIO_WritePin(GPIOD, GPIO_PIN_8, GPIO_PIN_RESET);   //If you not receive anything, Led3 is reset i.e Turn ON led3
			HAL_GPIO_WritePin(GPIOD, GPIO_PIN_9, GPIO_PIN_RESET);   //If you not receive anything, Led4 is reset i.e Turn ON led4
		}
	 }
    osDelay(1);
  }
  /* USER CODE END leds */
}

void HAL_TIM_PeriodElapsedCallback(TIM_HandleTypeDef *htim)
{
  if (htim->Instance == TIM6) {
    HAL_IncTick();
  }
}

void Error_Handler(void)
{
  __disable_irq();
  while (1)
  {
  }
}
